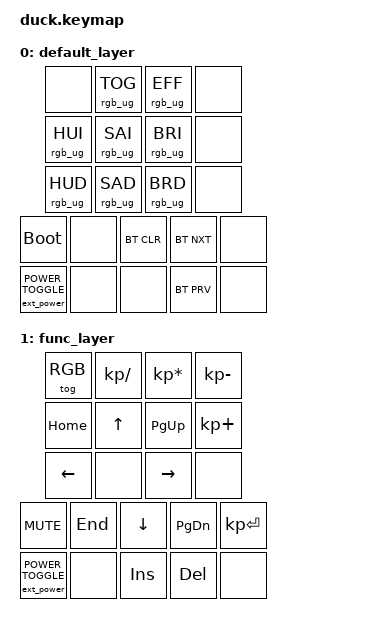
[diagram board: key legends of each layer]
/* Copyright (c) 2020 The ZMK Contributors
 * SPDX-License-Identifier: MIT
 *
 * Author: Jack Hartstein
 * Last Edited: Dec 20 2020
 */

#include <behaviors.dtsi>
#include <dt-bindings/zmk/keys.h>
#include <dt-bindings/zmk/rgb.h>
#include <dt-bindings/zmk/bt.h>
#include <dt-bindings/zmk/ext_power.h>

#define DEFAULT 0
#define FUNC 1
#define RGB_BT 2

/ {
	sensor-bindings = <&inc_dec_kp C_VOL_UP C_VOL_DN>;


	keymap {
		compatible = "zmk,keymap";
		
		default_layer {
			bindings = <
								&tog FUNC	&kp KP_FSLH	&kp KP_ASTERISK		&kp KP_MINUS
								&kp KP_NUMBER_7 &kp KP_NUMBER_8 &kp KP_NUMBER_9		&kp KP_PLUS
								&kp KP_NUMBER_4 &kp KP_NUMBER_5 &kp KP_NUMBER_6 	&none
				&kp K_MUTE			&kp KP_NUMBER_1 &kp KP_NUMBER_2 &kp KP_NUMBER_3 	&kp KP_ENTER
				&ext_power EP_POWER_TOGGLE_CMD	&none 		&KP_NUMBER_0 	&kp KP_DOT      	&none
			>;
		};

		 func_layer {
			 bindings = <
								&tog RGB	&kp KP_FSLH     &kp KP_ASTERISK &kp KP_MINUS
								&kp HOME    	&kp UP    	&kp PG_UP    	&kp KP_PLUS
								&kp LEFT    	&none      	&kp RIGHT      	&none
				&kp K_MUTE			&kp END    	&kp DOWN    	&kp PG_DN    	&kp KP_ENTER
				&ext_power EP_POWER_TOGGLE_CMD  &none	 	&kp INS         &kp DEL		&none
			 >;
		 };

		 default_layer {
                         bindings = <
                                                		&none      	&rgb_ug RGB_TOG &rgb_ug RGB_EFF         &none
                                        		        &rgb_ug RGB_HUI &rgb_ug RGB_SAI &rgb_ug RGB_BRI         &none
                             		              		&rgb_ug RGB_HUD &rgb_ug RGB_SAD &rgb_ug RGB_BRD         &none
                                &bootloader            		&none  	 	&bt BT_CLR 	&bt BT_NXT         	&none
                                &ext_power EP_POWER_TOGGLE_CMD	&none           &none    	&bt BT_PRV              &none
                         >;
                 };
	};
};
